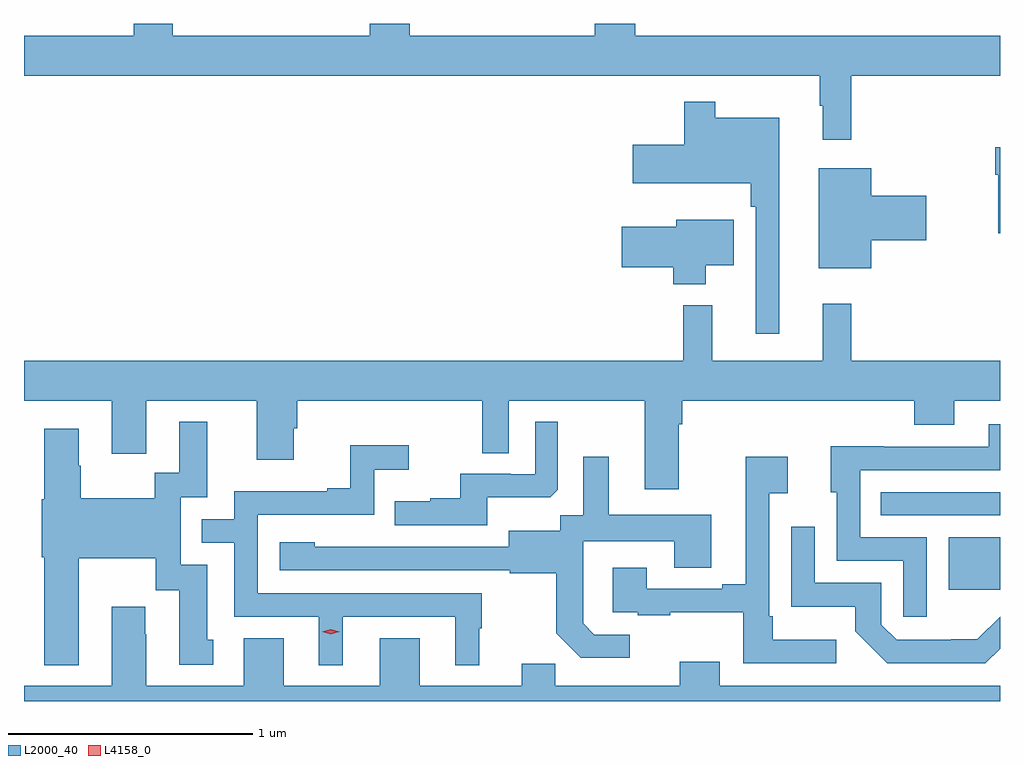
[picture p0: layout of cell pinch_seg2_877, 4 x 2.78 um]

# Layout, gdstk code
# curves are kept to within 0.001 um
import gdstk
lib = gdstk.Library(unit=1e-6, precision=1e-09)
def R(c, l, rs):  # rectangles x0, y0, x1, y1
    for r in rs: c.add(gdstk.rectangle(r[:2], r[2:], *l))
def P(c, l, *ps):  # polygons
    for p in ps: c.add(gdstk.Polygon(p, *l))
L2000_40 = (2000, 40)
L4158_0 = (4158, 0)

pinch_seg2_877 = lib.new_cell('pinch_seg2_877')
R(pinch_seg2_877, L2000_40, [(425.324,584.258,425.535,584.473), (425.047,584.562,425.535,584.658)])
P(pinch_seg2_877, L2000_40, [(424.797,586.241),(424.808,586.241),(424.808,586.101),(424.925,586.101),(424.925,586.364),(425.535,586.364),(425.535,586.528),(424.04,586.528),(424.04,586.578),(423.875,586.578),(423.875,586.528),(423.116,586.528),(423.116,586.578),(422.951,586.578),(422.951,586.528),(422.144,586.528),(422.144,586.578),(421.984,586.578),(421.984,586.528),(421.535,586.528),(421.535,586.364),(424.797,586.364)],
  [(424.63,586.192),(424.369,586.192),(424.369,586.258),(424.24,586.258),(424.24,586.081),(424.029,586.081),(424.029,585.923),(424.513,585.923),(424.513,585.827),(424.533,585.827),(424.533,585.306),(424.63,585.306)],
  [(425.535,586.072),(425.516,586.072),(425.516,585.959),(425.528,585.959),(425.528,585.719),(425.535,585.719)],
  [(425.008,585.689),(425.233,585.689),(425.233,585.872),(425.008,585.872),(425.008,585.985),(424.793,585.985),(424.793,585.575),(425.008,585.575)],
  [(424.33,585.587),(424.444,585.587),(424.444,585.775),(424.208,585.775),(424.208,585.745),(423.984,585.745),(423.984,585.58),(424.196,585.58),(424.196,585.509),(424.33,585.509)],
  [(424.219,584.936),(424.232,584.936),(424.232,585.032),(425.183,585.032),(425.183,584.933),(425.347,584.933),(425.347,585.032),(425.535,585.032),(425.535,585.196),(424.925,585.196),(424.925,585.43),(424.808,585.43),(424.808,585.196),(424.355,585.196),(424.355,585.424),(424.237,585.424),(424.237,585.196),(421.535,585.196),(421.535,585.032),(421.895,585.032),(421.895,584.814),(422.035,584.814),(422.035,585.032),(422.489,585.032),(422.489,584.79),(422.641,584.79),(422.641,584.919),(422.654,584.919),(422.654,585.032),(423.414,585.032),(423.414,584.818),(423.522,584.818),(423.522,585.032),(424.079,585.032),(424.079,584.67),(424.219,584.67)],
  [(421.759,584.387),(422.075,584.387),(422.075,584.256),(422.171,584.256),(422.171,583.95),(422.311,583.95),(422.311,584.052),(422.287,584.052),(422.287,584.361),(422.178,584.361),(422.178,584.637),(422.287,584.637),(422.287,584.947),(422.171,584.947),(422.171,584.738),(422.07,584.738),(422.07,584.632),(421.767,584.632),(421.767,584.766),(421.759,584.766),(421.759,584.917),(421.619,584.917),(421.619,584.628),(421.607,584.628),(421.607,584.391),(421.619,584.391),(421.619,583.949),(421.759,583.949)],
  [(423.433,584.636),(423.691,584.636),(423.723,584.667),(423.723,584.947),(423.63,584.947),(423.63,584.73),(423.53,584.73),(423.53,584.733),(423.323,584.733),(423.323,584.632),(423.199,584.632),(423.199,584.62),(423.055,584.62),(423.055,584.523),(423.433,584.523)],
  [(425.235,584.472),(424.962,584.472),(424.962,584.748),(425.535,584.748),(425.535,584.935),(425.489,584.935),(425.489,584.844),(425.059,584.844),(425.059,584.846),(424.841,584.846),(424.841,584.658),(424.866,584.658),(424.866,584.376),(425.139,584.376),(425.139,584.148),(425.235,584.148)],
  [(422.842,584.148),(423.302,584.148),(423.302,583.949),(423.4,583.949),(423.4,584.1),(423.412,584.1),(423.412,584.244),(422.493,584.244),(422.493,584.565),(422.97,584.565),(422.97,584.75),(423.112,584.75),(423.112,584.849),(422.872,584.849),(422.872,584.674),(422.777,584.674),(422.777,584.661),(422.397,584.661),(422.397,584.547),(422.263,584.547),(422.263,584.451),(422.397,584.451),(422.397,584.148),(422.744,584.148),(422.744,583.949),(422.842,583.949)],
  [(424.018,584.073),(423.873,584.073),(423.826,584.12),(423.826,584.215),(423.828,584.215),(423.828,584.456),(424.199,584.456),(424.199,584.347),(424.351,584.347),(424.351,584.566),(423.931,584.566),(423.931,584.803),(423.827,584.803),(423.827,584.564),(423.732,584.564),(423.732,584.5),(423.521,584.5),(423.521,584.433),(422.727,584.434),(422.727,584.452),(422.583,584.452),(422.583,584.337),(423.525,584.337),(423.525,584.325),(423.717,584.325),(423.717,584.079),(423.817,583.979),(424.018,583.979)],
  [(424.864,584.053),(424.603,584.053),(424.603,584.149),(424.59,584.149),(424.59,584.654),(424.666,584.654),(424.666,584.803),(424.493,584.803),(424.493,584.281),(424.397,584.281),(424.397,584.262),(424.087,584.262),(424.087,584.347),(423.947,584.347),(423.947,584.166),(424.051,584.166),(424.051,584.154),(424.183,584.154),(424.183,584.165),(424.482,584.165),(424.482,583.956),(424.864,583.956)],
  [(425.535,584.016),(425.535,584.148),(425.441,584.054),(425.336,584.054),(425.336,584.052),(425.112,584.052),(425.049,584.115),(425.049,584.286),(424.776,584.286),(424.776,584.515),(424.68,584.515),(424.68,584.189),(424.942,584.189),(424.942,584.087),(425.072,583.956),(425.475,583.956)],
  [(425.535,583.864),(424.387,583.864),(424.387,583.963),(424.223,583.963),(424.223,583.864),(423.713,583.864),(423.713,583.955),(423.575,583.955),(423.575,583.864),(423.157,583.864),(423.157,584.059),(422.993,584.059),(422.993,583.864),(422.599,583.864),(422.599,584.059),(422.435,584.059),(422.435,583.864),(422.035,583.864),(422.035,584.075),(422.032,584.075),(422.032,584.188),(421.895,584.188),(421.895,583.864),(421.535,583.864),(421.535,583.8),(425.535,583.8)])
P(pinch_seg2_877, L4158_0, [(422.793,584.076),(422.758,584.086),(422.757,584.086),(422.758,584.086),(422.793,584.096),(422.828,584.086),(422.829,584.086),(422.828,584.086)])

lib.write_gds('pinch_seg2_877.gds')
